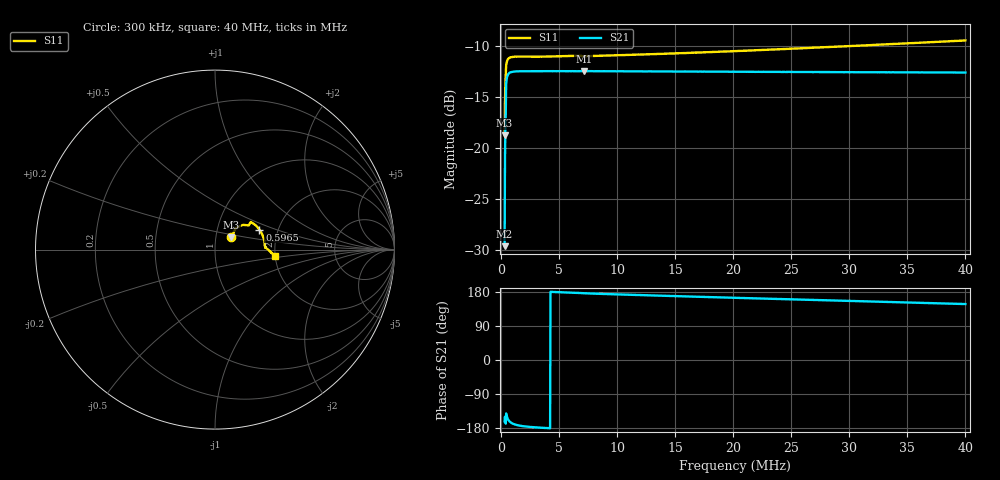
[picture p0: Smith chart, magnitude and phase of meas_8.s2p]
# HZ S RI R 50
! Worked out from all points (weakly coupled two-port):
!   1206 points, 300 kHz to 40 MHz, reference 50 ohm
!   highest |S21| = -12.50 dB at 7.12 MHz (marker M1); lowest = -29.7 dB at 300 kHz (marker M2)
!   lowest |S11| = -18.8 dB at 300 kHz (marker M3), VSWR 1.26, Z = 59.5 + j8.35 ohm
!   |S11| at or under -10 dB: start of sweep to 31 MHz; 31.00674 MHz to 31.0792 MHz (72.46 kHz wide, 0.233 % of centre)
!   S12 and S22 are empty: the file has one direction only
!   S11 on the Smith chart (normalised r, x): 300 kHz: 1.19, +0.17; 596.5 kHz: 1.60, +0.39; 40 MHz: 1.99, -0.17
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300000  0.0917 0.0693  -0.0312 -0.0102  0 0  0 0
398838  0.1883 0.1349  -0.1443 -0.0306  0 0  0 0
530622  0.2357 0.1261  -0.1979 -0.1032  0 0  0 0
563568  0.2423 0.1184  -0.2046 -0.0959  0 0  0 0
596514  0.2474 0.1116  -0.2097 -0.0898  0 0  0 0
629460  0.2515 0.1057  -0.2135 -0.0841  0 0  0 0
728298  0.26 0.091  -0.2213 -0.0711  0 0  0 0
893028  0.2675 0.0737  -0.2278 -0.0561  0 0  0 0
1090704  0.2719 0.06  -0.2315 -0.0444  0 0  0 0
1486056  0.2754 0.0437  -0.2343 -0.0306  0 0  0 0
2013192  0.2768 0.0324  -0.2357 -0.02  0 0  0 0
2770950  0.2777 0.0241  -0.2365 -0.011  0 0  0 0
3759330  0.2783 0.0185  -0.2369 -0.00294  0 0  0 0
5867874  0.2806 0.0128  -0.2365 0.00891  0 0  0 0
6691524  0.2813 0.0113  -0.2364 0.0127  0 0  0 0
6922146  0.2795 0.0143  -0.2364 0.0154  0 0  0 0
7119822  0.2798 0.0141  -0.2366 0.0165  0 0  0 0
1.354429e7  0.2874 0.00632  -0.2325 0.0415  0 0  0 0
2.016644e7  0.2969 -0.00143  -0.2263 0.0644  0 0  0 0
2.678858e7  0.308 -0.011  -0.2182 0.0858  0 0  0 0
3.341073e7  0.3203 -0.0231  -0.2084 0.1059  0 0  0 0
3.999993e7  0.3326 -0.0377  -0.1968 0.1247  0 0  0 0
